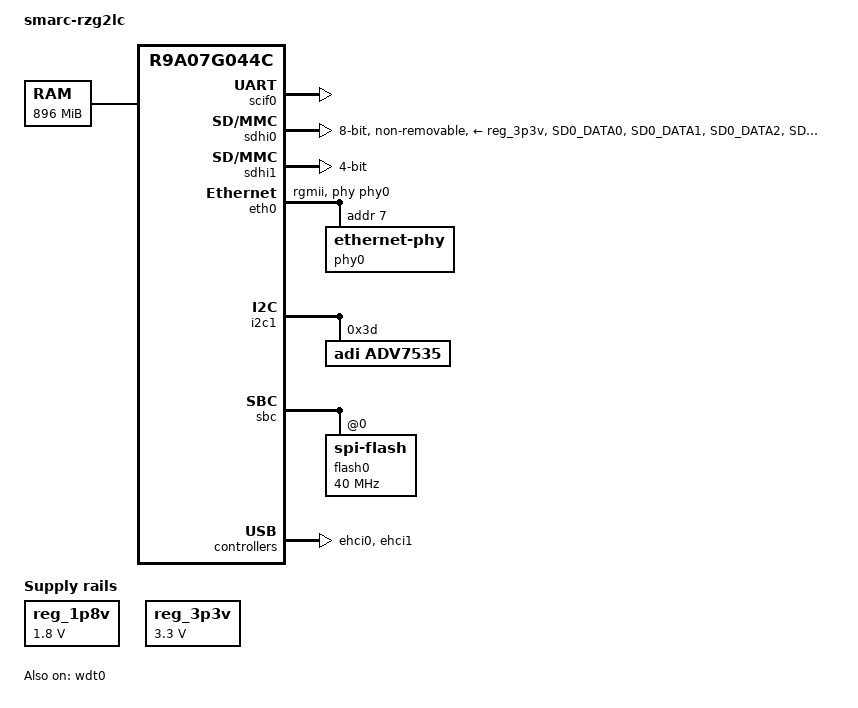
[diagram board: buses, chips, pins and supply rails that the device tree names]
// SPDX-License-Identifier: GPL-2.0
/*
 * Device Tree Source for the GR-Peach board
 *
 * Copyright (C) 2017 Jacopo Mondi <jacopo+renesas@jmondi.org>
 * Copyright (C) 2016 Renesas Electronics
 */

/dts-v1/;
#include <dt-bindings/gpio/gpio.h>
#include "r9a07g044.dtsi"
#include "r9a07g044c-u-boot.dtsi"
#include <dt-bindings/pinctrl/rzg2l-pinctrl.h>

/ {
	model = "smarc-rzg2lc";
	compatible = "renesas,r9a07g044c", "renesas,rzg2lc";

	aliases {
		serial0 = &scif0;
		spi0 = &sbc;
	};

	chosen {
		stdout-path = "serial0:115200n8";
	};

	memory@48000000 {
		device_type = "memory";
		/* first 128MB is reserved for secure area. */
		reg = <0 0x48000000 0 0x38000000>;
	};

	reg_1p8v: regulator-1p8v {
		compatible = "regulator-fixed";
		regulator-name = "fixed-1.8V";
		regulator-min-microvolt = <1800000>;
		regulator-max-microvolt = <1800000>;
		regulator-boot-on;
		regulator-always-on;
	};

	reg_3p3v: regulator-3p3v {
		compatible = "regulator-fixed";
		regulator-name = "fixed-3.3V";
		regulator-min-microvolt = <3300000>;
		regulator-max-microvolt = <3300000>;
		regulator-boot-on;
		regulator-always-on;
	};

};

&pinctrl {
	eth0_pins: eth0 {
		pinmux = <RZG2L_PINMUX(20, 0, 1)>,
				<RZG2L_PINMUX(20, 1, 1)>,
				<RZG2L_PINMUX(20, 2, 1)>,
				<RZG2L_PINMUX(21, 0, 1)>,
				<RZG2L_PINMUX(21, 1, 1)>,
				<RZG2L_PINMUX(22, 0, 1)>,
				<RZG2L_PINMUX(22, 1, 1)>,
				<RZG2L_PINMUX(23, 0, 1)>,
				<RZG2L_PINMUX(23, 1, 1)>,
				<RZG2L_PINMUX(24, 0, 1)>,
				<RZG2L_PINMUX(24, 1, 1)>,
				<RZG2L_PINMUX(25, 0, 1)>,
				<RZG2L_PINMUX(25, 1, 1)>,
				<RZG2L_PINMUX(26, 0, 1)>,
				<RZG2L_PINMUX(26, 1, 1)>,
				<RZG2L_PINMUX(27, 0, 1)>,
				<RZG2L_PINMUX(27, 1, 1)>,
				<RZG2L_PINMUX(28, 0, 1)>,
				<RZG2L_PINMUX(28, 1, 1)>;
	};

	sdhi0_emmc_pins: sd0emmc {
		sd0_emmc_data {
			pins = "SD0_DATA0", "SD0_DATA1", "SD0_DATA2", "SD0_DATA3",
			       "SD0_DATA4", "SD0_DATA5", "SD0_DATA6", "SD0_DATA7";
			power-source = <1800>;
		};

		sd0_emmc_ctrl {
			pins = "SD0_CLK", "SD0_CMD";
			power-source = <1800>;
		};

		sd0_emmc_rst {
			pins = "SD0_RST#";
			power-source = <1800>;
		};
	};
};

&extal_clk {
        clock-frequency = <24000000>;
};

&scif0 {
	status = "okay";
	clock = <100000000>;
};

&sdhi0 {
	/* pinctrl placeholder
	 * If this channel is used for interfacing with a SD card, a power enable
	 * pin (SD0_PWR_EN) must be defined.
	 * The SD0_PWR_EN pin is associated with P4_1.
	 * A HIGH signal on SD0_PWR_EN will enable supply voltage for SD card.
	*/
	pinctrl-0 = <&sdhi0_emmc_pins>;
	pinctrl-1 = <&sdhi0_emmc_pins>;
	pinctrl-names = "default", "state_uhs";
	bus-width = <8>;
	vmmc-supply = <&reg_3p3v>;
	vqmmc-supply = <&reg_1p8v>;
	status = "okay";
	mmc-hs200-1_8v;
	non-removable;
	fixed-emmc-driver-type = <1>;
	/* This is used for interface that support both eMMC and SD in board */
	mutual-channel;
};

&sdhi1 {
	/* pinctrl placeholder
	 * A power enable pin (SD1_PWR_EN) must be defined to interface with a
	 * SD card.
	 * The SD1_PWR_EN pin is associated with P39_2.
	 * A HIGH signal on SD1_PWR_EN will enable supply voltage for SD card.
	*/
	bus-width = <4>;
	status = "okay";
};

&eth0 {
	pinctrl-names = "default";
	pinctrl-0 = <&eth0_pins>;
	phy-handle = <&phy0>;
	phy-mode = "rgmii";
	status = "okay";

	phy0: ethernet-phy@7 {
		reg = <7>;
	};
};

&i2c1 {
	pinctrl-names = "default";
	status = "okay";

	adv7535: hdmi@3d {
		compatible = "adi,adv7535";
		reg = <0x3d>;
	};
};

&sbc {
        num-cs = <1>;
        status = "okay";
        spi-max-frequency = <40000000>;
        #address-cells = <1>;
        #size-cells = <0>;
        flash0: spi-flash@0 {
                #address-cells = <1>;
                #size-cells = <1>;
                compatible = "spi-flash", "jedec,spi-nor";
                spi-max-frequency = <40000000>;
                spi-tx-bus-width = <1>;
                spi-rx-bus-width = <1>;
                reg = <0>;
                status = "okay";
        };
};

&ehci0 {
	status = "okay";
};

&ehci1 {
	status = "okay";
};

&wdt0 {
	status = "okay";
	timeout-sec = <60>;
};
